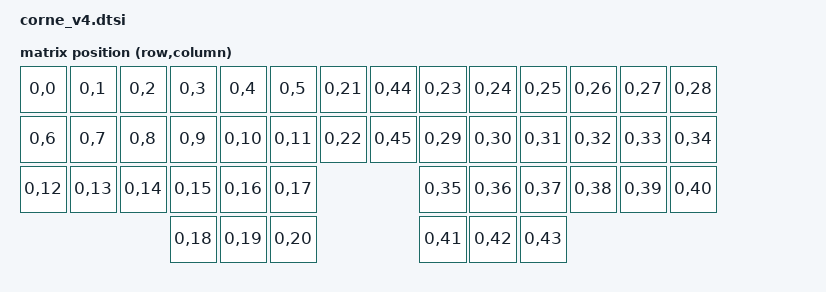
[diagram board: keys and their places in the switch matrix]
/*
 * foostan Corne v4 (rev 4.1, "standard" 3x6+3) — shared shield devicetree.
 *
 * Pin assignments are from QMK's keyboards/crkbd/rev4_1/info.json and
 * config.h, which are foostan's own and describe rev 4.1 exactly. Unlike the
 * Rolio, nothing here had to be found empirically -- EXCEPT the encoders, see
 * corne_v4_left.overlay.
 *
 * The v4 has no key matrix. Every switch gets its own GPIO, so kscan is
 * zmk,kscan-gpio-direct, which reports a key as (row 0, column <index into
 * input-gpios>). The transform below is therefore one row of 42 columns, not
 * the 4x12 the pro-micro Corne uses, and each half's input-gpios are listed in
 * physical left-to-right, top-to-bottom order so that index == position within
 * that half. The right half then shifts itself up by 21 with col-offset.
 *
 * Column 6 of foostan's matrix (the "ex2" expansion keys) is not populated on
 * the standard board and is left out entirely.
 *
 * SPDX-License-Identifier: MIT
 */

#include <dt-bindings/zmk/matrix_transform.h>
#include <dt-bindings/led/led.h>

#include "corne_v4-layout.dtsi"

/*
 * Keys per half, and hence the right half's column offset into the transform.
 * 21 keycaps plus the two ex2 expansion switches at the inner edge -- which is
 * also why foostan's LED chain is 23 a half.
 */
#define CORNE_V4_KEYS_PER_HALF 23

&corne_v4_layout {
    transform = <&default_transform>;
    kscan = <&kscan0>;
};

/ {
    chosen {
        zmk,kscan = &kscan0;
        zmk,physical-layout = &corne_v4_layout;
        zmk,underglow = &led_strip;
    };

    /*
     * The 21 keycap positions of each half keep the order they were confirmed
     * in on hardware (2026-08-29, all 21 left positions correct); the two
     * expansion switches are APPENDED as indices 21 and 22 rather than slotted
     * in at the inner edge, precisely so that nothing already verified gets
     * renumbered. The map below is what puts them back in reading order.
     *
     * Left half is kscan columns 0-22, right half 23-45 (via col-offset).
     */
    default_transform: keymap_transform_0 {
        compatible = "zmk,matrix-transform";
        rows = <1>;
        columns = <46>;
        map = <
RC(0,0)  RC(0,1)  RC(0,2)  RC(0,3)  RC(0,4)  RC(0,5)   RC(0,21) RC(0,44)   RC(0,23) RC(0,24) RC(0,25) RC(0,26) RC(0,27) RC(0,28)
RC(0,6)  RC(0,7)  RC(0,8)  RC(0,9)  RC(0,10) RC(0,11)  RC(0,22) RC(0,45)   RC(0,29) RC(0,30) RC(0,31) RC(0,32) RC(0,33) RC(0,34)
RC(0,12) RC(0,13) RC(0,14) RC(0,15) RC(0,16) RC(0,17)                      RC(0,35) RC(0,36) RC(0,37) RC(0,38) RC(0,39) RC(0,40)
                           RC(0,18) RC(0,19) RC(0,20)                      RC(0,41) RC(0,42) RC(0,43)
        >;
    };

    /* input-gpios are filled in per half; see the two overlays. */
    kscan0: kscan {
        compatible = "zmk,kscan-gpio-direct";
        wakeup-source;
    };

    sensors: sensors {
        compatible = "zmk,keymap-sensors";
        sensors = <&encoder_left &encoder_right>;
        triggers-per-rotation = <20>;
    };

    /*
     * Hold this key while plugging the half in and it comes up in the
     * bootloader. The pin differs per half, so each overlay fills it in.
     *
     * This is the only route into the bootloader that survives a broken split
     * link, and on this board the BOOT button is not reachable with the case
     * on -- see boot_key.c for why nothing else covers the peripheral.
     */
    boot_key: boot_key {
        compatible = "zmk,boot-key";
    };
};

/*
 * Both encoders are declared on both halves. Only one of them is ever enabled
 * per build, but zmk,keymap-sensors has to resolve both phandles or the half
 * without the encoder fails to build -- the same rule that puts the Rolio's
 * emblem behaviour in its shared dtsi.
 */
/ {
    encoder_left: encoder_left {
        compatible = "alps,ec11";
        steps = <80>;
        status = "disabled";
    };

    encoder_right: encoder_right {
        compatible = "alps,ec11";
        steps = <80>;
        status = "disabled";
    };
};

&pinctrl {
    /*
     * The split link. One conductor on the TRRS jack, so one pin, driven only
     * while transmitting -- see uart_pio_half_duplex.c. Pulled up so the line
     * reads idle-high when neither half is talking.
     */
    split_pio_default: split_pio_default {
        data_pins {
            pinmux = <PIO0_P12>;
            input-enable;
            bias-pull-up;
        };
    };

    ws2812_pio_default: ws2812_pio_default {
        ws2812 {
            pinmux = <PIO1_P10>;
        };
    };
};

/*
 * The half-duplex UART takes two of PIO0's four state machines; the LED strip
 * gets PIO1 to itself so the two never contend.
 */
&pio0 {
    status = "okay";

    split_uart: split_uart {
        compatible = "zmk,pico-uart-pio-half-duplex";
        status = "okay";
        pinctrl-0 = <&split_pio_default>;
        pinctrl-names = "default";
        /*
         * Bounded by the RECEIVER, not by what the PIO can clock out.
         *
         * The RX FIFO is 8 bytes (PIO_FIFO_JOIN_RX) and ZMK empties it by
         * polling, so the link can only run as fast as those 8 bytes can be
         * consumed between polls. At 460800 baud a byte lands every 22us --
         * eight of them in 174us, against a poll period of 1ms. Every reply
         * longer than 8 bytes lost its tail, arrived as an unparseable
         * fragment, and wedged the transport (see the note in
         * corne_v4_left.conf about how a stuck fragment starves the poller).
         *
         * At 115200 with the poll period cut to 200us, roughly two bytes
         * arrive per poll against a depth of eight: about a 3.5x margin, which
         * survives ordinary scheduling jitter. A whole message is ~3ms, well
         * inside the 15ms poll cycle. Raise it only alongside a faster drain.
         */
        current-speed = <115200>;
    };
};

&pio1 {
    status = "okay";

    pio-ws2812 {
        compatible = "worldsemi,ws2812-rpi_pico-pio";
        status = "okay";
        pinctrl-0 = <&ws2812_pio_default>;
        pinctrl-names = "default";
        bit-waveform = <3>, <3>, <4>;

        led_strip: ws2812 {
            status = "okay";
            gpios = <&gpio0 10 GPIO_ACTIVE_HIGH>;
            /*
             * 23 per half: one under each of the 21 keys, plus the two that
             * sit at the expansion position. Unlike the eyelash, this really
             * is per-key.
             */
            chain-length = <23>;
            color-mapping = <LED_COLOR_ID_GREEN LED_COLOR_ID_RED LED_COLOR_ID_BLUE>;
            /* Plain WS2812 timing: 800kbit/s, 280us latch. */
            frequency = <800000>;
            reset-delay = <280>;
        };
    };
};

/ {
    wired_split {
        compatible = "zmk,wired-split";
        device = <&split_uart>;
        half-duplex;
    };
};

/*
 * foostan specifies a 64x crystal startup delay for this board (QMK's
 * PICO_XOSC_STARTUP_DELAY_MULTIPLIER). Booting without it risks the PLL coming
 * up before the oscillator is stable.
 */
&xosc {
    startup-delay-multiplier = <64>;
};

/*
 * ZMK's rpi_pico board marks the settings partition read-only, which leaves
 * CONFIG_SETTINGS_NVS selected with nothing behind it. This keyboard has
 * genuine settings to keep -- the active layer's lighting state, and anything
 * else ZMK persists -- so give it back a writable partition.
 */
&storage_partition {
    /delete-property/ read-only;
};

/*
 * A marker for the other shields on the build line, because CONFIG_ symbols
 * cannot be used here.
 *
 * Zephyr runs its `dts` cmake module BEFORE `kconfig` (zephyr_default.cmake:
 * "DTS should be close to kconfig", dts listed first), so autoconf.h does not
 * exist yet when the devicetree sources are preprocessed and every
 * `#if defined(CONFIG_SHIELD_...)` in an overlay is silently false. It builds,
 * it produces no warning, and whatever the guard protected simply never
 * happens -- which is how rgbkey.overlay's &mo retarget went missing for two
 * rounds of debugging.
 *
 * Overlays ARE preprocessed as one run in shield-list order (here:
 * corne_v4_<half>.overlay, rgbkey.overlay, corne_v4.keymap, jjb.keymap), so a
 * plain #define set by the board's own shield reaches everything after it.
 */
#define CORNE_V4_PRESENT 1
